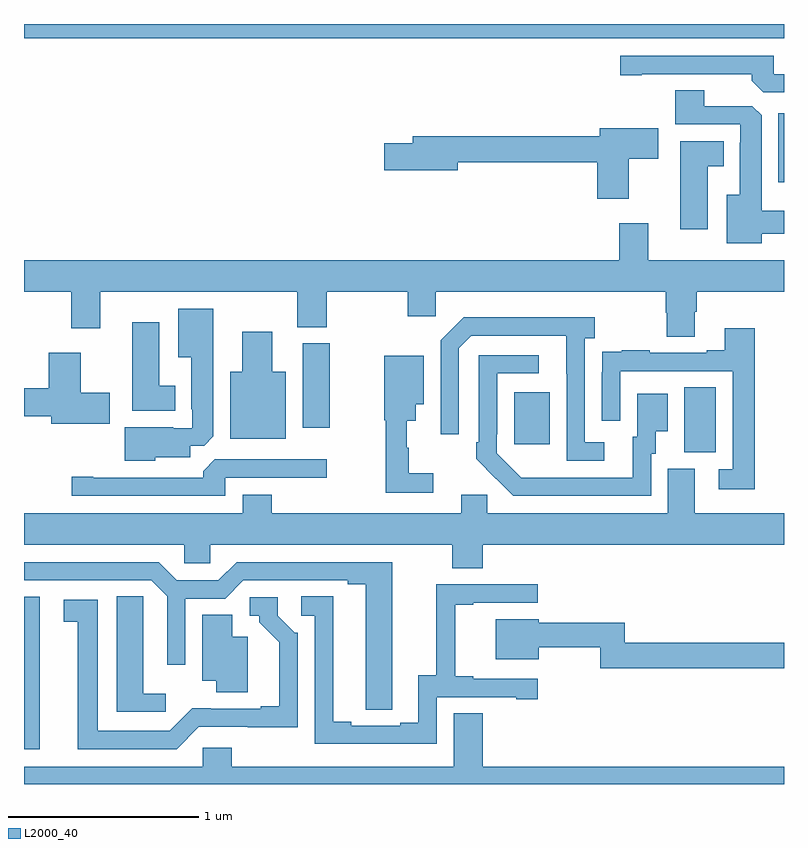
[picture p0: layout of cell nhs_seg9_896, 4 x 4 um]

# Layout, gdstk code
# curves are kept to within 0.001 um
import gdstk
lib = gdstk.Library(unit=1e-6, precision=1e-09)
def R(c, l, rs):  # rectangles x0, y0, x1, y1
    for r in rs: c.add(gdstk.rectangle(r[:2], r[2:], *l))
def P(c, l, *ps):  # polygons
    for p in ps: c.add(gdstk.Polygon(p, *l))
L2000_40 = (2000, 40)

nhs_seg9_896 = lib.new_cell('nhs_seg9_896')
R(nhs_seg9_896, L2000_40, [(159,1188.684,159.082,1189.486), (162.476,1190.245,162.64,1190.588), (161.579,1190.289,161.767,1190.563), (160.466,1190.376,160.608,1190.82), (162.971,1191.668,163,1192.03), (159,1192.424,163,1192.5)])
P(nhs_seg9_896, L2000_40, [(163,1192.236),(162.945,1192.236),(162.945,1192.332),(162.138,1192.332),(162.138,1192.231),(162.25,1192.231),(162.25,1192.236),(162.83,1192.236),(162.83,1192.202),(162.891,1192.14),(163,1192.14)],
  [(162.883,1191.395),(163,1191.395),(163,1191.517),(162.883,1191.517),(162.883,1192.019),(162.834,1192.068),(162.58,1192.068),(162.58,1192.151),(162.428,1192.151),(162.428,1191.972),(162.771,1191.972),(162.771,1191.875),(162.767,1191.875),(162.767,1191.601),(162.698,1191.601),(162.698,1191.347),(162.883,1191.347)],
  [(162.184,1191.79),(162.337,1191.79),(162.337,1191.952),(162.029,1191.952),(162.029,1191.908),(161.045,1191.908),(161.045,1191.872),(160.896,1191.872),(160.896,1191.73),(161.284,1191.73),(161.284,1191.772),(162.017,1191.772),(162.017,1191.579),(162.184,1191.579)],
  [(162.598,1191.752),(162.682,1191.752),(162.682,1191.883),(162.455,1191.883),(162.455,1191.42),(162.598,1191.42)],
  [(162.529,1190.986),(162.542,1190.986),(162.542,1191.092),(163,1191.092),(163,1191.256),(162.286,1191.256),(162.286,1191.451),(162.134,1191.451),(162.134,1191.256),(159,1191.256),(159,1191.092),(159.248,1191.092),(159.248,1190.898),(159.4,1190.898),(159.4,1191.092),(160.438,1191.092),(160.438,1190.905),(160.593,1190.905),(160.593,1191.092),(161.02,1191.092),(161.02,1190.961),(161.166,1190.961),(161.166,1191.092),(162.377,1191.092),(162.377,1190.979),(162.382,1190.979),(162.382,1190.854),(162.529,1190.854)],
  [(159.69,1190.219),(159.874,1190.219),(159.874,1190.28),(159.948,1190.28),(159.997,1190.329),(159.997,1191.001),(159.812,1191.001),(159.812,1190.747),(159.881,1190.747),(159.881,1190.473),(159.885,1190.473),(159.885,1190.373),(159.785,1190.373),(159.785,1190.377),(159.53,1190.377),(159.53,1190.201),(159.69,1190.201)],
  [(162.055,1190.298),(161.952,1190.298),(161.952,1190.846),(162.004,1190.846),(162.004,1190.956),(161.314,1190.956),(161.193,1190.835),(161.193,1190.34),(161.289,1190.34),(161.289,1190.793),(161.355,1190.859),(161.855,1190.859),(161.856,1190.202),(162.055,1190.202)],
  [(159.796,1190.596),(159.712,1190.596),(159.712,1190.929),(159.569,1190.929),(159.569,1190.465),(159.796,1190.465)],
  [(162.845,1190.899),(162.689,1190.899),(162.689,1190.782),(162.593,1190.782),(162.593,1190.769),(162.293,1190.769),(162.293,1190.782),(162.145,1190.782),(162.145,1190.775),(162.043,1190.775),(162.043,1190.666),(162.042,1190.666),(162.042,1190.412),(162.138,1190.412),(162.138,1190.673),(162.729,1190.673),(162.729,1190.157),(162.657,1190.157),(162.657,1190.052),(162.845,1190.052)],
  [(160.378,1190.671),(160.306,1190.671),(160.306,1190.881),(160.148,1190.881),(160.148,1190.671),(160.085,1190.671),(160.085,1190.318),(160.378,1190.318)],
  [(159.451,1190.559),(159.298,1190.559),(159.298,1190.77),(159.131,1190.77),(159.131,1190.582),(159,1190.582),(159,1190.435),(159.143,1190.435),(159.143,1190.396),(159.451,1190.396)],
  [(162.3,1190.238),(162.325,1190.238),(162.325,1190.357),(162.388,1190.357),(162.388,1190.554),(162.227,1190.554),(162.227,1190.328),(162.203,1190.328),(162.203,1190.112),(161.616,1190.113),(161.487,1190.241),(161.487,1190.341),(161.49,1190.341),(161.49,1190.661),(161.71,1190.661),(161.71,1190.757),(161.394,1190.757),(161.394,1190.299),(161.379,1190.299),(161.379,1190.211),(161.576,1190.016),(162.3,1190.016)],
  [(161.155,1190.135),(161.026,1190.135),(161.026,1190.271),(161.015,1190.271),(161.015,1190.411),(161.062,1190.411),(161.062,1190.498),(161.104,1190.498),(161.104,1190.755),(160.897,1190.755),(160.897,1190.415),(160.905,1190.415),(160.905,1190.034),(161.155,1190.034)],
  [(160.059,1190.112),(160.594,1190.112),(160.594,1190.208),(160.005,1190.208),(159.944,1190.146),(159.944,1190.112),(159.364,1190.112),(159.364,1190.117),(159.252,1190.117),(159.252,1190.016),(160.059,1190.016)],
  [(161.414,1189.76),(163,1189.76),(163,1189.924),(162.529,1189.924),(162.529,1190.16),(162.389,1190.16),(162.389,1189.924),(161.439,1189.924),(161.439,1190.022),(161.3,1190.022),(161.3,1189.924),(160.304,1189.924),(160.304,1190.023),(160.151,1190.023),(160.151,1189.924),(159,1189.924),(159,1189.76),(159.843,1189.76),(159.843,1189.662),(159.981,1189.662),(159.981,1189.76),(161.254,1189.76),(161.254,1189.636),(161.414,1189.636)],
  [(160.938,1189),(160.939,1189.668),(160.119,1189.668),(160.023,1189.572),(159.805,1189.572),(159.709,1189.668),(159,1189.668),(159,1189.572),(159.669,1189.572),(159.753,1189.488),(159.753,1189.128),(159.849,1189.128),(159.849,1189.476),(160.059,1189.476),(160.155,1189.572),(160.703,1189.572),(160.703,1189.552),(160.799,1189.552),(160.799,1188.892),(160.938,1188.892)],
  [(161.172,1188.957),(161.591,1188.957),(161.591,1188.945),(161.704,1188.945),(161.704,1189.053),(161.365,1189.053),(161.365,1189.066),(161.27,1189.066),(161.27,1189.443),(161.365,1189.443),(161.365,1189.455),(161.704,1189.455),(161.704,1189.551),(161.17,1189.551),(161.17,1189.073),(161.075,1189.073),(161.075,1188.822),(160.979,1188.822),(160.979,1188.807),(160.723,1188.807),(160.723,1188.827),(160.627,1188.827),(160.627,1189.487),(160.458,1189.487),(160.458,1189.386),(160.53,1189.386),(160.53,1188.711),(161.172,1188.711)],
  [(159.745,1188.976),(159.628,1188.976),(159.628,1189.379),(159.627,1189.379),(159.627,1189.487),(159.488,1189.487),(159.488,1188.879),(159.745,1188.879)],
  [(159.921,1188.801),(160.44,1188.8),(160.44,1189.296),(160.425,1189.296),(160.335,1189.386),(160.335,1189.482),(160.188,1189.482),(160.188,1189.386),(160.238,1189.386),(160.238,1189.351),(160.343,1189.246),(160.343,1188.91),(160.247,1188.91),(160.247,1188.897),(159.886,1188.898),(159.768,1188.78),(159.388,1188.78),(159.388,1189.47),(159.21,1189.47),(159.21,1189.354),(159.284,1189.354),(159.284,1188.684),(159.804,1188.684)],
  [(160.177,1189.276),(160.096,1189.276),(160.096,1189.391),(159.938,1189.391),(159.938,1189.043),(160.013,1189.043),(160.013,1188.982),(160.177,1188.982)],
  [(163,1189.244),(162.161,1189.244),(162.161,1189.348),(161.71,1189.348),(161.71,1189.366),(161.483,1189.366),(161.483,1189.157),(161.71,1189.157),(161.71,1189.219),(162.033,1189.219),(162.033,1189.108),(163,1189.108)],
  [(163,1188.592),(161.414,1188.592),(161.414,1188.872),(161.261,1188.872),(161.261,1188.592),(160.094,1188.592),(160.094,1188.69),(159.942,1188.69),(159.942,1188.592),(159,1188.592),(159,1188.5),(163,1188.5)])

lib.write_gds('nhs_seg9_896.gds')
